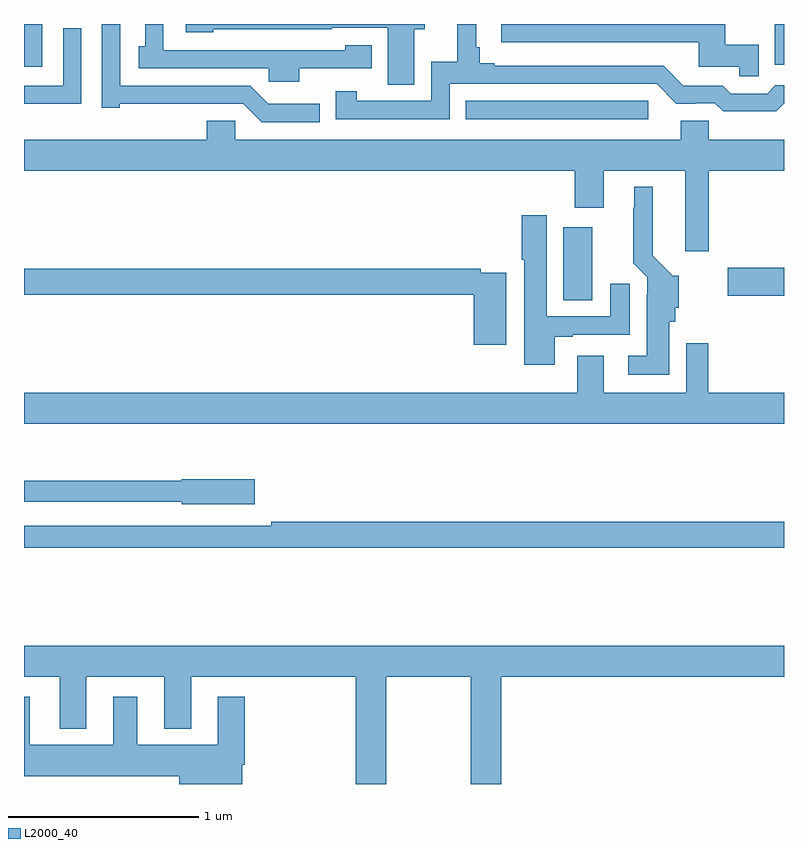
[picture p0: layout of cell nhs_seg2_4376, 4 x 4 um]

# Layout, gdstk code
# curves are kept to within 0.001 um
import gdstk
lib = gdstk.Library(unit=1e-6, precision=1e-09)
def R(c, l, rs):  # rectangles x0, y0, x1, y1
    for r in rs: c.add(gdstk.rectangle(r[:2], r[2:], *l))
def P(c, l, *ps):  # polygons
    for p in ps: c.add(gdstk.Polygon(p, *l))
L2000_40 = (2000, 40)

nhs_seg2_4376 = lib.new_cell('nhs_seg2_4376')
R(nhs_seg2_4376, L2000_40, [(351.839,588.346,351.991,588.73), (352.704,588.371,353,588.518), (351.325,589.299,352.285,589.395), (349,589.575,349.096,589.8), (352.952,589.586,353,589.8)])
P(nhs_seg2_4376, L2000_40, [(351.055,589.772),(351.109,589.772),(351.109,589.8),(349.851,589.8),(349.851,589.757),(349.995,589.757),(349.995,589.773),(350.619,589.773),(350.619,589.779),(350.915,589.779),(350.915,589.48),(351.055,589.48)],
  [(350.556,589.38),(350.286,589.38),(350.19,589.476),(349.506,589.476),(349.507,589.8),(349.41,589.8),(349.41,589.358),(349.503,589.358),(349.503,589.379),(350.154,589.38),(350.25,589.284),(350.556,589.284)],
  [(351.24,589.485),(352.329,589.485),(352.434,589.38),(352.533,589.38),(352.533,589.383),(352.635,589.383),(352.679,589.34),(352.958,589.34),(353,589.382),(353,589.477),(352.954,589.477),(352.911,589.434),(352.72,589.434),(352.678,589.476),(352.471,589.476),(352.366,589.581),(351.475,589.581),(351.475,589.594),(351.398,589.594),(351.398,589.678),(351.379,589.678),(351.379,589.8),(351.281,589.8),(351.281,589.601),(351.144,589.601),(351.144,589.395),(350.752,589.395),(350.752,589.447),(350.641,589.447),(350.641,589.299),(351.24,589.299)],
  [(350.448,589.566),(350.83,589.566),(350.83,589.687),(350.691,589.687),(350.691,589.662),(349.734,589.662),(349.734,589.8),(349.637,589.8),(349.637,589.682),(349.604,589.682),(349.604,589.566),(350.289,589.566),(350.289,589.497),(350.448,589.497)],
  [(352.867,589.691),(352.69,589.691),(352.69,589.8),(351.513,589.8),(351.513,589.704),(352.55,589.704),(352.55,589.575),(352.765,589.575),(352.765,589.524),(352.867,589.524)],
  [(349.302,589.777),(349.206,589.777),(349.206,589.476),(349,589.476),(349,589.38),(349.057,589.38),(349.057,589.379),(349.302,589.379)],
  [(352.604,589.028),(353,589.028),(353,589.192),(352.604,589.192),(352.604,589.29),(352.457,589.29),(352.457,589.192),(350.112,589.192),(350.112,589.29),(349.961,589.29),(349.961,589.192),(349,589.192),(349,589.028),(351.899,589.028),(351.899,588.834),(352.051,588.834),(352.051,589.028),(352.481,589.028),(352.481,588.603),(352.604,588.603)],
  [(352.396,588.234),(352.427,588.234),(352.427,588.307),(352.447,588.307),(352.447,588.474),(352.414,588.474),(352.309,588.58),(352.309,588.943),(352.211,588.943),(352.211,588.833),(352.207,588.833),(352.207,588.542),(352.281,588.468),(352.281,588.374),(352.277,588.374),(352.277,588.055),(352.179,588.055),(352.179,587.954),(352.396,587.954)],
  [(351.793,588.153),(351.889,588.153),(351.889,588.165),(352.189,588.165),(352.189,588.433),(352.085,588.433),(352.085,588.261),(351.751,588.261),(351.751,588.793),(351.62,588.793),(351.62,588.559),(351.632,588.559),(351.632,588.006),(351.793,588.006)],
  [(351.538,588.492),(351.404,588.492),(351.404,588.512),(349,588.512),(349,588.376),(351.368,588.376),(351.368,588.111),(351.538,588.111)],
  [(353,587.86),(352.601,587.86),(352.601,588.121),(352.485,588.121),(352.485,587.86),(352.051,587.86),(352.051,588.055),(351.911,588.055),(351.911,587.86),(349,587.86),(349,587.696),(353,587.696)],
  [(350.215,587.403),(349.83,587.403),(349.83,587.395),(349,587.395),(349,587.286),(349.83,587.286),(349.83,587.273),(350.215,587.273)],
  [(353,587.18),(350.302,587.18),(350.302,587.16),(349,587.16),(349,587.044),(353,587.044)],
  [(350.907,586.364),(351.352,586.364),(351.352,585.8),(351.512,585.8),(351.512,586.364),(353,586.364),(353,586.528),(349,586.528),(349,586.364),(349.187,586.364),(349.187,586.091),(349.327,586.091),(349.327,586.364),(349.739,586.364),(349.739,586.091),(349.879,586.091),(349.879,586.364),(350.747,586.364),(350.747,585.8),(350.907,585.8)],
  [(350.149,585.902),(350.162,585.902),(350.162,586.258),(350.021,586.258),(350.021,586.006),(349.597,586.006),(349.597,586.258),(349.469,586.258),(349.469,586.006),(349.03,586.006),(349.03,586.258),(349,586.258),(349,585.842),(349.817,585.842),(349.817,585.8),(350.149,585.8)])

lib.write_gds('nhs_seg2_4376.gds')
